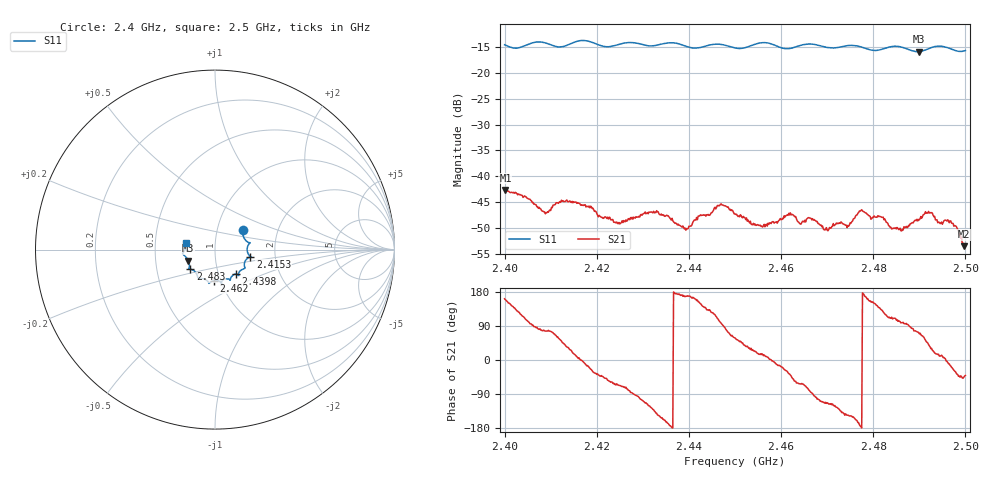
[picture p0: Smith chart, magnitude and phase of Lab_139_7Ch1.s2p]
# Hz S RI R 50
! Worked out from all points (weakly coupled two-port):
!   601 points, 2.4 GHz to 2.5 GHz, reference 50 ohm
!   highest |S21| = -42.62 dB at 2.4002 GHz (marker M1); lowest = -53.5 dB at 2.4997 GHz (marker M2)
!   lowest |S11| = -15.9 dB at 2.4898 GHz (marker M3), VSWR 1.38, Z = 36.8 - j4.64 ohm
!   |S11| at or under -10 dB: start of sweep to end of sweep
!   S12 and S22 are empty: the file has one direction only
!   S11 on the Smith chart (normalised r, x): 2.4 GHz: 1.33, +0.29; 2.4153 GHz: 1.48, -0.12; 2.4398 GHz: 1.21, -0.34; 2.462 GHz: 0.93, -0.33; 2.483 GHz: 0.74, -0.17; 2.5 GHz: 0.72, +0.06
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2.4e9  0.1545 0.1065  -0.00696 0.00234  0 0  0 0
2.400167e9  0.1543 0.1043  -0.0069 0.00265  0 0  0 0
2.408667e9  0.1933 0.0361  0.00103 0.00441  0 0  0 0
2.415333e9  0.1963 -0.0388  0.00547 0.00129  0 0  0 0
2.416667e9  0.202 -0.0427  0.0053 -3.61e-05  0 0  0 0
2.424667e9  0.164 -0.0931  0.00142 -0.00317  0 0  0 0
2.433333e9  0.131 -0.1338  -0.00376 -0.00252  0 0  0 0
2.439833e9  0.1151 -0.1365  -0.00305 0.000626  0 0  0 0
2.446667e9  0.0847 -0.1699  -0.00105 0.0051  0 0  0 0
2.45e9  0.0645 -0.1628  0.00228 0.00368  0 0  0 0
2.456e9  0.0381 -0.1929  0.00312 0.000825  0 0  0 0
2.462e9  -0.00499 -0.173  0.00341 -0.00282  0 0  0 0
2.466667e9  -0.0341 -0.1876  0.00019 -0.00378  0 0  0 0
2.469833e9  -0.0462 -0.1712  -0.00132 -0.0029  0 0  0 0
2.4775e9  -0.0973 -0.1492  -0.00475 -6.21e-05  0 0  0 0
2.483e9  -0.1375 -0.1096  -0.00153 0.00322  0 0  0 0
2.483333e9  -0.1402 -0.1095  -0.00123 0.0031  0 0  0 0
2.489833e9  -0.1485 -0.0614  0.00114 0.00365  0 0  0 0
2.492333e9  -0.1712 -0.0322  0.00367 0.00254  0 0  0 0
2.496667e9  -0.1724 -0.0101  0.00358 -0.0009  0 0  0 0
2.499667e9  -0.1597 0.0333  0.00148 -0.0015  0 0  0 0
2.5e9  -0.1602 0.0394  0.00168 -0.00146  0 0  0 0
